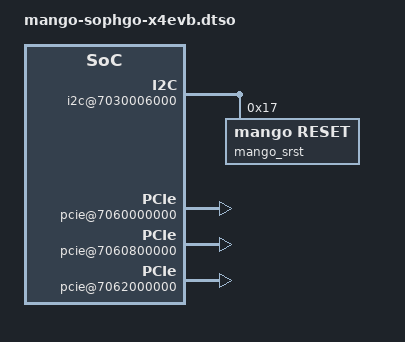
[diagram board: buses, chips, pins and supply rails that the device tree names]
/dts-v1/;
/plugin/;

/ {
	fragment@0 {
		target-path = "/cpus";
		__overlay__ {
			#address-cells = <1>;
			#size-cells = <0>;
			timebase-frequency = <50000000>;

			cpu0: cpu@0 {
				compatible = "thead,c920", "riscv";
				device_type = "cpu";
				riscv,isa = "rv64imafdc_xtheadvector";
				riscv,isa-base = "rv64i";
				riscv,isa-extensions = "i", "m", "a", "f", "d", "c",
						"zicntr", "zicsr", "zifencei",
						"zihpm", "xtheadvector";
				reg = <0>;
				i-cache-block-size = <64>;
				i-cache-size = <65536>;
				i-cache-sets = <512>;
				d-cache-block-size = <64>;
				d-cache-size = <65536>;
				d-cache-sets = <512>;
				next-level-cache = <&l2_cache0>;
				mmu-type = "riscv,sv39";
				numa-node-id = <0>;

				cpu0_intc: interrupt-controller {
					#address-cells = <1>;
					compatible = "riscv,cpu-intc";
					interrupt-controller;
					#interrupt-cells = <1>;
				};
			};

			cpu1: cpu@1 {
				compatible = "thead,c920", "riscv";
				device_type = "cpu";
				riscv,isa = "rv64imafdc_xtheadvector";
				riscv,isa-base = "rv64i";
				riscv,isa-extensions = "i", "m", "a", "f", "d", "c",
						"zicntr", "zicsr", "zifencei",
						"zihpm", "xtheadvector";
				reg = <1>;
				i-cache-block-size = <64>;
				i-cache-size = <65536>;
				i-cache-sets = <512>;
				d-cache-block-size = <64>;
				d-cache-size = <65536>;
				d-cache-sets = <512>;
				next-level-cache = <&l2_cache0>;
				mmu-type = "riscv,sv39";
				numa-node-id = <0>;

				cpu1_intc: interrupt-controller {
					#address-cells = <1>;
					compatible = "riscv,cpu-intc";
					interrupt-controller;
					#interrupt-cells = <1>;
				};
			};

			cpu2: cpu@2 {
				compatible = "thead,c920", "riscv";
				device_type = "cpu";
				riscv,isa = "rv64imafdc_xtheadvector";
				riscv,isa-base = "rv64i";
				riscv,isa-extensions = "i", "m", "a", "f", "d", "c",
						"zicntr", "zicsr", "zifencei",
						"zihpm", "xtheadvector";
				reg = <2>;
				i-cache-size = <65536>;
				i-cache-sets = <512>;
				d-cache-block-size = <64>;
				d-cache-size = <65536>;
				d-cache-sets = <512>;
				next-level-cache = <&l2_cache0>;
				mmu-type = "riscv,sv39";
				numa-node-id = <0>;

				cpu2_intc: interrupt-controller {
					#address-cells = <1>;
					compatible = "riscv,cpu-intc";
					interrupt-controller;
					#interrupt-cells = <1>;
				};
			};

			cpu3: cpu@3 {
				compatible = "thead,c920", "riscv";
				device_type = "cpu";
				riscv,isa = "rv64imafdc_xtheadvector";
				riscv,isa-base = "rv64i";
				riscv,isa-extensions = "i", "m", "a", "f", "d", "c",
						"zicntr", "zicsr", "zifencei",
						"zihpm", "xtheadvector";
				reg = <3>;
				i-cache-size = <65536>;
				i-cache-sets = <512>;
				d-cache-block-size = <64>;
				d-cache-size = <65536>;
				d-cache-sets = <512>;
				next-level-cache = <&l2_cache0>;
				mmu-type = "riscv,sv39";
				numa-node-id = <0>;

				cpu3_intc: interrupt-controller {
					#address-cells = <1>;
					compatible = "riscv,cpu-intc";
					interrupt-controller;
					#interrupt-cells = <1>;
				};
			};

			cpu4: cpu@4 {
				compatible = "thead,c920", "riscv";
				device_type = "cpu";
				riscv,isa = "rv64imafdc_xtheadvector";
				riscv,isa-base = "rv64i";
				riscv,isa-extensions = "i", "m", "a", "f", "d", "c",
						"zicntr", "zicsr", "zifencei",
						"zihpm", "xtheadvector";
				reg = <4>;
				i-cache-size = <65536>;
				i-cache-sets = <512>;
				d-cache-block-size = <64>;
				d-cache-size = <65536>;
				d-cache-sets = <512>;
				next-level-cache = <&l2_cache1>;
				mmu-type = "riscv,sv39";
				numa-node-id = <0>;

				cpu4_intc: interrupt-controller {
					#address-cells = <1>;
					compatible = "riscv,cpu-intc";
					interrupt-controller;
					#interrupt-cells = <1>;
				};
			};

			cpu5: cpu@5 {
				compatible = "thead,c920", "riscv";
				device_type = "cpu";
				riscv,isa = "rv64imafdc_xtheadvector";
				riscv,isa-base = "rv64i";
				riscv,isa-extensions = "i", "m", "a", "f", "d", "c",
						"zicntr", "zicsr", "zifencei",
						"zihpm", "xtheadvector";
				reg = <5>;
				i-cache-size = <65536>;
				i-cache-sets = <512>;
				d-cache-block-size = <64>;
				d-cache-size = <65536>;
				d-cache-sets = <512>;
				next-level-cache = <&l2_cache1>;
				mmu-type = "riscv,sv39";
				numa-node-id = <0>;

				cpu5_intc: interrupt-controller {
					#address-cells = <1>;
					compatible = "riscv,cpu-intc";
					interrupt-controller;
					#interrupt-cells = <1>;
				};
			};

			cpu6: cpu@6 {
				compatible = "thead,c920", "riscv";
				device_type = "cpu";
				riscv,isa = "rv64imafdc_xtheadvector";
				riscv,isa-base = "rv64i";
				riscv,isa-extensions = "i", "m", "a", "f", "d", "c",
						"zicntr", "zicsr", "zifencei",
						"zihpm", "xtheadvector";
				reg = <6>;
				i-cache-size = <65536>;
				i-cache-sets = <512>;
				d-cache-block-size = <64>;
				d-cache-size = <65536>;
				d-cache-sets = <512>;
				next-level-cache = <&l2_cache1>;
				mmu-type = "riscv,sv39";
				numa-node-id = <0>;

				cpu6_intc: interrupt-controller {
					#address-cells = <1>;
					compatible = "riscv,cpu-intc";
					interrupt-controller;
					#interrupt-cells = <1>;
				};
			};

			cpu7: cpu@7 {
				compatible = "thead,c920", "riscv";
				device_type = "cpu";
				riscv,isa = "rv64imafdc_xtheadvector";
				riscv,isa-base = "rv64i";
				riscv,isa-extensions = "i", "m", "a", "f", "d", "c",
						"zicntr", "zicsr", "zifencei",
						"zihpm", "xtheadvector";
				reg = <7>;
				i-cache-size = <65536>;
				i-cache-sets = <512>;
				d-cache-block-size = <64>;
				d-cache-size = <65536>;
				d-cache-sets = <512>;
				next-level-cache = <&l2_cache1>;
				mmu-type = "riscv,sv39";
				numa-node-id = <0>;

				cpu7_intc: interrupt-controller {
					#address-cells = <1>;
					compatible = "riscv,cpu-intc";
					interrupt-controller;
					#interrupt-cells = <1>;
				};
			};

			cpu8: cpu@8 {
				compatible = "thead,c920", "riscv";
				device_type = "cpu";
				riscv,isa = "rv64imafdc_xtheadvector";
				riscv,isa-base = "rv64i";
				riscv,isa-extensions = "i", "m", "a", "f", "d", "c",
						"zicntr", "zicsr", "zifencei",
						"zihpm", "xtheadvector";
				reg = <8>;
				i-cache-size = <65536>;
				i-cache-sets = <512>;
				d-cache-block-size = <64>;
				d-cache-size = <65536>;
				d-cache-sets = <512>;
				next-level-cache = <&l2_cache4>;
				mmu-type = "riscv,sv39";
				numa-node-id = <1>;

				cpu8_intc: interrupt-controller {
					#address-cells = <1>;
					compatible = "riscv,cpu-intc";
					interrupt-controller;
					#interrupt-cells = <1>;
				};
			};

			cpu9: cpu@9 {
				compatible = "thead,c920", "riscv";
				device_type = "cpu";
				riscv,isa = "rv64imafdc_xtheadvector";
				riscv,isa-base = "rv64i";
				riscv,isa-extensions = "i", "m", "a", "f", "d", "c",
						"zicntr", "zicsr", "zifencei",
						"zihpm", "xtheadvector";
				reg = <9>;
				i-cache-size = <65536>;
				i-cache-sets = <512>;
				d-cache-block-size = <64>;
				d-cache-size = <65536>;
				d-cache-sets = <512>;
				next-level-cache = <&l2_cache4>;
				mmu-type = "riscv,sv39";
				numa-node-id = <1>;

				cpu9_intc: interrupt-controller {
					#address-cells = <1>;
					compatible = "riscv,cpu-intc";
					interrupt-controller;
					#interrupt-cells = <1>;
				};
			};

			cpu10: cpu@10 {
				compatible = "thead,c920", "riscv";
				device_type = "cpu";
				riscv,isa = "rv64imafdc_xtheadvector";
				riscv,isa-base = "rv64i";
				riscv,isa-extensions = "i", "m", "a", "f", "d", "c",
						"zicntr", "zicsr", "zifencei",
						"zihpm", "xtheadvector";
				reg = <10>;
				i-cache-size = <65536>;
				i-cache-sets = <512>;
				d-cache-block-size = <64>;
				d-cache-size = <65536>;
				d-cache-sets = <512>;
				next-level-cache = <&l2_cache4>;
				mmu-type = "riscv,sv39";
				numa-node-id = <1>;

				cpu10_intc: interrupt-controller {
					#address-cells = <1>;
					compatible = "riscv,cpu-intc";
					interrupt-controller;
					#interrupt-cells = <1>;
				};
			};

			cpu11: cpu@11 {
				compatible = "thead,c920", "riscv";
				device_type = "cpu";
				riscv,isa = "rv64imafdc_xtheadvector";
				riscv,isa-base = "rv64i";
				riscv,isa-extensions = "i", "m", "a", "f", "d", "c",
						"zicntr", "zicsr", "zifencei",
						"zihpm", "xtheadvector";
				reg = <11>;
				i-cache-size = <65536>;
				i-cache-sets = <512>;
				d-cache-block-size = <64>;
				d-cache-size = <65536>;
				d-cache-sets = <512>;
				next-level-cache = <&l2_cache4>;
				mmu-type = "riscv,sv39";
				numa-node-id = <1>;

				cpu11_intc: interrupt-controller {
					#address-cells = <1>;
					compatible = "riscv,cpu-intc";
					interrupt-controller;
					#interrupt-cells = <1>;
				};
			};

			cpu12: cpu@12 {
				compatible = "thead,c920", "riscv";
				device_type = "cpu";
				riscv,isa = "rv64imafdc_xtheadvector";
				riscv,isa-base = "rv64i";
				riscv,isa-extensions = "i", "m", "a", "f", "d", "c",
						"zicntr", "zicsr", "zifencei",
						"zihpm", "xtheadvector";
				reg = <12>;
				i-cache-size = <65536>;
				i-cache-sets = <512>;
				d-cache-block-size = <64>;
				d-cache-size = <65536>;
				d-cache-sets = <512>;
				next-level-cache = <&l2_cache5>;
				mmu-type = "riscv,sv39";
				numa-node-id = <1>;

				cpu12_intc: interrupt-controller {
					#address-cells = <1>;
					compatible = "riscv,cpu-intc";
					interrupt-controller;
					#interrupt-cells = <1>;
				};
			};

			cpu13: cpu@13 {
				compatible = "thead,c920", "riscv";
				device_type = "cpu";
				riscv,isa = "rv64imafdc_xtheadvector";
				riscv,isa-base = "rv64i";
				riscv,isa-extensions = "i", "m", "a", "f", "d", "c",
						"zicntr", "zicsr", "zifencei",
						"zihpm", "xtheadvector";
				reg = <13>;
				i-cache-size = <65536>;
				i-cache-sets = <512>;
				d-cache-block-size = <64>;
				d-cache-size = <65536>;
				d-cache-sets = <512>;
				next-level-cache = <&l2_cache5>;
				mmu-type = "riscv,sv39";
				numa-node-id = <1>;

				cpu13_intc: interrupt-controller {
					#address-cells = <1>;
					compatible = "riscv,cpu-intc";
					interrupt-controller;
					#interrupt-cells = <1>;
				};
			};

			cpu14: cpu@14 {
				compatible = "thead,c920", "riscv";
				device_type = "cpu";
				riscv,isa = "rv64imafdc_xtheadvector";
				riscv,isa-base = "rv64i";
				riscv,isa-extensions = "i", "m", "a", "f", "d", "c",
						"zicntr", "zicsr", "zifencei",
						"zihpm", "xtheadvector";
				reg = <14>;
				i-cache-size = <65536>;
				i-cache-sets = <512>;
				d-cache-block-size = <64>;
				d-cache-size = <65536>;
				d-cache-sets = <512>;
				next-level-cache = <&l2_cache5>;
				mmu-type = "riscv,sv39";
				numa-node-id = <1>;

				cpu14_intc: interrupt-controller {
					#address-cells = <1>;
					compatible = "riscv,cpu-intc";
					interrupt-controller;
					#interrupt-cells = <1>;
				};
			};

			cpu15: cpu@15 {
				compatible = "thead,c920", "riscv";
				device_type = "cpu";
				riscv,isa = "rv64imafdc_xtheadvector";
				riscv,isa-base = "rv64i";
				riscv,isa-extensions = "i", "m", "a", "f", "d", "c",
						"zicntr", "zicsr", "zifencei",
						"zihpm", "xtheadvector";
				reg = <15>;
				i-cache-size = <65536>;
				i-cache-sets = <512>;
				d-cache-block-size = <64>;
				d-cache-size = <65536>;
				d-cache-sets = <512>;
				next-level-cache = <&l2_cache5>;
				mmu-type = "riscv,sv39";
				numa-node-id = <1>;

				cpu15_intc: interrupt-controller {
					#address-cells = <1>;
					compatible = "riscv,cpu-intc";
					interrupt-controller;
					#interrupt-cells = <1>;
				};
			};

			cpu16: cpu@16 {
				compatible = "thead,c920", "riscv";
				device_type = "cpu";
				riscv,isa = "rv64imafdc_xtheadvector";
				riscv,isa-base = "rv64i";
				riscv,isa-extensions = "i", "m", "a", "f", "d", "c",
						"zicntr", "zicsr", "zifencei",
						"zihpm", "xtheadvector";
				reg = <16>;
				i-cache-size = <65536>;
				i-cache-sets = <512>;
				d-cache-block-size = <64>;
				d-cache-size = <65536>;
				d-cache-sets = <512>;
				next-level-cache = <&l2_cache2>;
				mmu-type = "riscv,sv39";
				numa-node-id = <0>;

				cpu16_intc: interrupt-controller {
					#address-cells = <1>;
					compatible = "riscv,cpu-intc";
					interrupt-controller;
					#interrupt-cells = <1>;
				};
			};

			cpu17: cpu@17 {
				compatible = "thead,c920", "riscv";
				device_type = "cpu";
				riscv,isa = "rv64imafdc_xtheadvector";
				riscv,isa-base = "rv64i";
				riscv,isa-extensions = "i", "m", "a", "f", "d", "c",
						"zicntr", "zicsr", "zifencei",
						"zihpm", "xtheadvector";
				reg = <17>;
				i-cache-size = <65536>;
				i-cache-sets = <512>;
				d-cache-block-size = <64>;
				d-cache-size = <65536>;
				d-cache-sets = <512>;
				next-level-cache = <&l2_cache2>;
				mmu-type = "riscv,sv39";
				numa-node-id = <0>;

				cpu17_intc: interrupt-controller {
					#address-cells = <1>;
					compatible = "riscv,cpu-intc";
					interrupt-controller;
					#interrupt-cells = <1>;
				};
			};

			cpu18: cpu@18 {
				compatible = "thead,c920", "riscv";
				device_type = "cpu";
				riscv,isa = "rv64imafdc_xtheadvector";
				riscv,isa-base = "rv64i";
				riscv,isa-extensions = "i", "m", "a", "f", "d", "c",
						"zicntr", "zicsr", "zifencei",
						"zihpm", "xtheadvector";
				reg = <18>;
				i-cache-size = <65536>;
				i-cache-sets = <512>;
				d-cache-block-size = <64>;
				d-cache-size = <65536>;
				d-cache-sets = <512>;
				next-level-cache = <&l2_cache2>;
				mmu-type = "riscv,sv39";
				numa-node-id = <0>;

				cpu18_intc: interrupt-controller {
					#address-cells = <1>;
					compatible = "riscv,cpu-intc";
					interrupt-controller;
					#interrupt-cells = <1>;
				};
			};

			cpu19: cpu@19 {
				compatible = "thead,c920", "riscv";
				device_type = "cpu";
				riscv,isa = "rv64imafdc_xtheadvector";
				riscv,isa-base = "rv64i";
				riscv,isa-extensions = "i", "m", "a", "f", "d", "c",
						"zicntr", "zicsr", "zifencei",
						"zihpm", "xtheadvector";
				reg = <19>;
				i-cache-size = <65536>;
				i-cache-sets = <512>;
				d-cache-block-size = <64>;
				d-cache-size = <65536>;
				d-cache-sets = <512>;
				next-level-cache = <&l2_cache2>;
				mmu-type = "riscv,sv39";
				numa-node-id = <0>;

				cpu19_intc: interrupt-controller {
					#address-cells = <1>;
					compatible = "riscv,cpu-intc";
					interrupt-controller;
					#interrupt-cells = <1>;
				};
			};

			cpu20: cpu@20 {
				compatible = "thead,c920", "riscv";
				device_type = "cpu";
				riscv,isa = "rv64imafdc_xtheadvector";
				riscv,isa-base = "rv64i";
				riscv,isa-extensions = "i", "m", "a", "f", "d", "c",
						"zicntr", "zicsr", "zifencei",
						"zihpm", "xtheadvector";
				reg = <20>;
				i-cache-size = <65536>;
				i-cache-sets = <512>;
				d-cache-block-size = <64>;
				d-cache-size = <65536>;
				d-cache-sets = <512>;
				next-level-cache = <&l2_cache3>;
				mmu-type = "riscv,sv39";
				numa-node-id = <0>;

				cpu20_intc: interrupt-controller {
					#address-cells = <1>;
					compatible = "riscv,cpu-intc";
					interrupt-controller;
					#interrupt-cells = <1>;
				};
			};

			cpu21: cpu@21 {
				compatible = "thead,c920", "riscv";
				device_type = "cpu";
				riscv,isa = "rv64imafdc_xtheadvector";
				riscv,isa-base = "rv64i";
				riscv,isa-extensions = "i", "m", "a", "f", "d", "c",
						"zicntr", "zicsr", "zifencei",
						"zihpm", "xtheadvector";
				reg = <21>;
				i-cache-size = <65536>;
				i-cache-sets = <512>;
				d-cache-block-size = <64>;
				d-cache-size = <65536>;
				d-cache-sets = <512>;
				next-level-cache = <&l2_cache3>;
				mmu-type = "riscv,sv39";
				numa-node-id = <0>;

				cpu21_intc: interrupt-controller {
					#address-cells = <1>;
					compatible = "riscv,cpu-intc";
					interrupt-controller;
					#interrupt-cells = <1>;
				};
			};

			cpu22: cpu@22 {
				compatible = "thead,c920", "riscv";
				device_type = "cpu";
				riscv,isa = "rv64imafdc_xtheadvector";
				riscv,isa-base = "rv64i";
				riscv,isa-extensions = "i", "m", "a", "f", "d", "c",
						"zicntr", "zicsr", "zifencei",
						"zihpm", "xtheadvector";
				reg = <22>;
				i-cache-size = <65536>;
				i-cache-sets = <512>;
				d-cache-block-size = <64>;
				d-cache-size = <65536>;
				d-cache-sets = <512>;
				next-level-cache = <&l2_cache3>;
				mmu-type = "riscv,sv39";
				numa-node-id = <0>;

				cpu22_intc: interrupt-controller {
					#address-cells = <1>;
					compatible = "riscv,cpu-intc";
					interrupt-controller;
					#interrupt-cells = <1>;
				};
			};

			cpu23: cpu@23 {
				compatible = "thead,c920", "riscv";
				device_type = "cpu";
				riscv,isa = "rv64imafdc_xtheadvector";
				riscv,isa-base = "rv64i";
				riscv,isa-extensions = "i", "m", "a", "f", "d", "c",
						"zicntr", "zicsr", "zifencei",
						"zihpm", "xtheadvector";
				reg = <23>;
				i-cache-block-size = <64>;
				i-cache-size = <65536>;
				i-cache-sets = <512>;
				d-cache-block-size = <64>;
				d-cache-size = <65536>;
				d-cache-sets = <512>;
				next-level-cache = <&l2_cache3>;
				mmu-type = "riscv,sv39";
				numa-node-id = <0>;

				cpu23_intc: interrupt-controller {
					#address-cells = <1>;
					compatible = "riscv,cpu-intc";
					interrupt-controller;
					#interrupt-cells = <1>;
				};
			};

			cpu24: cpu@24 {
				compatible = "thead,c920", "riscv";
				device_type = "cpu";
				riscv,isa = "rv64imafdc_xtheadvector";
				riscv,isa-base = "rv64i";
				riscv,isa-extensions = "i", "m", "a", "f", "d", "c",
						"zicntr", "zicsr", "zifencei",
						"zihpm", "xtheadvector";
				reg = <24>;
				i-cache-size = <65536>;
				i-cache-sets = <512>;
				d-cache-block-size = <64>;
				d-cache-size = <65536>;
				d-cache-sets = <512>;
				next-level-cache = <&l2_cache6>;
				mmu-type = "riscv,sv39";
				numa-node-id = <1>;

				cpu24_intc: interrupt-controller {
					#address-cells = <1>;
					compatible = "riscv,cpu-intc";
					interrupt-controller;
					#interrupt-cells = <1>;
				};
			};

			cpu25: cpu@25 {
				compatible = "thead,c920", "riscv";
				device_type = "cpu";
				riscv,isa = "rv64imafdc_xtheadvector";
				riscv,isa-base = "rv64i";
				riscv,isa-extensions = "i", "m", "a", "f", "d", "c",
						"zicntr", "zicsr", "zifencei",
						"zihpm", "xtheadvector";
				reg = <25>;
				i-cache-size = <65536>;
				i-cache-sets = <512>;
				d-cache-block-size = <64>;
				d-cache-size = <65536>;
				d-cache-sets = <512>;
				next-level-cache = <&l2_cache6>;
				mmu-type = "riscv,sv39";
				numa-node-id = <1>;

				cpu25_intc: interrupt-controller {
					#address-cells = <1>;
					compatible = "riscv,cpu-intc";
					interrupt-controller;
					#interrupt-cells = <1>;
				};
			};

			cpu26: cpu@26 {
				compatible = "thead,c920", "riscv";
				device_type = "cpu";
				riscv,isa = "rv64imafdc_xtheadvector";
				riscv,isa-base = "rv64i";
				riscv,isa-extensions = "i", "m", "a", "f", "d", "c",
						"zicntr", "zicsr", "zifencei",
						"zihpm", "xtheadvector";
				reg = <26>;
				i-cache-size = <65536>;
				i-cache-sets = <512>;
				d-cache-block-size = <64>;
				d-cache-size = <65536>;
				d-cache-sets = <512>;
				next-level-cache = <&l2_cache6>;
				mmu-type = "riscv,sv39";
				numa-node-id = <1>;

				cpu26_intc: interrupt-controller {
					#address-cells = <1>;
					compatible = "riscv,cpu-intc";
					interrupt-controller;
					#interrupt-cells = <1>;
				};
			};

			cpu27: cpu@27 {
				compatible = "thead,c920", "riscv";
				device_type = "cpu";
				riscv,isa = "rv64imafdc_xtheadvector";
				riscv,isa-base = "rv64i";
				riscv,isa-extensions = "i", "m", "a", "f", "d", "c",
						"zicntr", "zicsr", "zifencei",
						"zihpm", "xtheadvector";
				reg = <27>;
				i-cache-size = <65536>;
				i-cache-sets = <512>;
				d-cache-block-size = <64>;
				d-cache-size = <65536>;
				d-cache-sets = <512>;
				next-level-cache = <&l2_cache6>;
				mmu-type = "riscv,sv39";
				numa-node-id = <1>;

				cpu27_intc: interrupt-controller {
					#address-cells = <1>;
					compatible = "riscv,cpu-intc";
					interrupt-controller;
					#interrupt-cells = <1>;
				};
			};

			cpu28: cpu@28 {
				compatible = "thead,c920", "riscv";
				device_type = "cpu";
				riscv,isa = "rv64imafdc_xtheadvector";
				riscv,isa-base = "rv64i";
				riscv,isa-extensions = "i", "m", "a", "f", "d", "c",
						"zicntr", "zicsr", "zifencei",
						"zihpm", "xtheadvector";
				reg = <28>;
				i-cache-size = <65536>;
				i-cache-sets = <512>;
				d-cache-block-size = <64>;
				d-cache-size = <65536>;
				d-cache-sets = <512>;
				next-level-cache = <&l2_cache7>;
				mmu-type = "riscv,sv39";
				numa-node-id = <1>;

				cpu28_intc: interrupt-controller {
					#address-cells = <1>;
					compatible = "riscv,cpu-intc";
					interrupt-controller;
					#interrupt-cells = <1>;
				};
			};

			cpu29: cpu@29 {
				compatible = "thead,c920", "riscv";
				device_type = "cpu";
				riscv,isa = "rv64imafdc_xtheadvector";
				riscv,isa-base = "rv64i";
				riscv,isa-extensions = "i", "m", "a", "f", "d", "c",
						"zicntr", "zicsr", "zifencei",
						"zihpm", "xtheadvector";
				reg = <29>;
				i-cache-size = <65536>;
				i-cache-sets = <512>;
				d-cache-block-size = <64>;
				d-cache-size = <65536>;
				d-cache-sets = <512>;
				next-level-cache = <&l2_cache7>;
				mmu-type = "riscv,sv39";
				numa-node-id = <1>;

				cpu29_intc: interrupt-controller {
					#address-cells = <1>;
					compatible = "riscv,cpu-intc";
					interrupt-controller;
					#interrupt-cells = <1>;
				};
			};

			cpu30: cpu@30 {
				compatible = "thead,c920", "riscv";
				device_type = "cpu";
				riscv,isa = "rv64imafdc_xtheadvector";
				riscv,isa-base = "rv64i";
				riscv,isa-extensions = "i", "m", "a", "f", "d", "c",
						"zicntr", "zicsr", "zifencei",
						"zihpm", "xtheadvector";
				reg = <30>;
				i-cache-size = <65536>;
				i-cache-sets = <512>;
				d-cache-block-size = <64>;
				d-cache-size = <65536>;
				d-cache-sets = <512>;
				next-level-cache = <&l2_cache7>;
				mmu-type = "riscv,sv39";
				numa-node-id = <1>;

				cpu30_intc: interrupt-controller {
					#address-cells = <1>;
					compatible = "riscv,cpu-intc";
					interrupt-controller;
					#interrupt-cells = <1>;
				};
			};

			cpu31: cpu@31 {
				compatible = "thead,c920", "riscv";
				device_type = "cpu";
				riscv,isa = "rv64imafdc_xtheadvector";
				riscv,isa-base = "rv64i";
				riscv,isa-extensions = "i", "m", "a", "f", "d", "c",
						"zicntr", "zicsr", "zifencei",
						"zihpm", "xtheadvector";
				reg = <31>;
				i-cache-block-size = <64>;
				i-cache-size = <65536>;
				i-cache-sets = <512>;
				d-cache-block-size = <64>;
				d-cache-size = <65536>;
				d-cache-sets = <512>;
				next-level-cache = <&l2_cache7>;
				mmu-type = "riscv,sv39";
				numa-node-id = <1>;

				cpu31_intc: interrupt-controller {
					#address-cells = <1>;
					compatible = "riscv,cpu-intc";
					interrupt-controller;
					#interrupt-cells = <1>;
				};
			};

			cpu32: cpu@32 {
				compatible = "thead,c920", "riscv";
				device_type = "cpu";
				riscv,isa = "rv64imafdc_xtheadvector";
				riscv,isa-base = "rv64i";
				riscv,isa-extensions = "i", "m", "a", "f", "d", "c",
						"zicntr", "zicsr", "zifencei",
						"zihpm", "xtheadvector";
				reg = <32>;
				i-cache-size = <65536>;
				i-cache-sets = <512>;
				d-cache-block-size = <64>;
				d-cache-size = <65536>;
				d-cache-sets = <512>;
				next-level-cache = <&l2_cache8>;
				mmu-type = "riscv,sv39";
				numa-node-id = <2>;

				cpu32_intc: interrupt-controller {
					#address-cells = <1>;
					compatible = "riscv,cpu-intc";
					interrupt-controller;
					#interrupt-cells = <1>;
				};
			};

			cpu33: cpu@33 {
				compatible = "thead,c920", "riscv";
				device_type = "cpu";
				riscv,isa = "rv64imafdc_xtheadvector";
				riscv,isa-base = "rv64i";
				riscv,isa-extensions = "i", "m", "a", "f", "d", "c",
						"zicntr", "zicsr", "zifencei",
						"zihpm", "xtheadvector";
				reg = <33>;
				i-cache-size = <65536>;
				i-cache-sets = <512>;
				d-cache-block-size = <64>;
				d-cache-size = <65536>;
				d-cache-sets = <512>;
				next-level-cache = <&l2_cache8>;
				mmu-type = "riscv,sv39";
				numa-node-id = <2>;

				cpu33_intc: interrupt-controller {
					#address-cells = <1>;
					compatible = "riscv,cpu-intc";
					interrupt-controller;
					#interrupt-cells = <1>;
				};
			};

			cpu34: cpu@34 {
				compatible = "thead,c920", "riscv";
				device_type = "cpu";
				riscv,isa = "rv64imafdc_xtheadvector";
				riscv,isa-base = "rv64i";
				riscv,isa-extensions = "i", "m", "a", "f", "d", "c",
						"zicntr", "zicsr", "zifencei",
						"zihpm", "xtheadvector";
				reg = <34>;
				i-cache-size = <65536>;
				i-cache-sets = <512>;
				d-cache-block-size = <64>;
				d-cache-size = <65536>;
				d-cache-sets = <512>;
				next-level-cache = <&l2_cache8>;
				mmu-type = "riscv,sv39";
				numa-node-id = <2>;

				cpu34_intc: interrupt-controller {
					#address-cells = <1>;
					compatible = "riscv,cpu-intc";
					interrupt-controller;
					#interrupt-cells = <1>;
				};
			};

			cpu35: cpu@35 {
				compatible = "thead,c920", "riscv";
				device_type = "cpu";
				riscv,isa = "rv64imafdc_xtheadvector";
				riscv,isa-base = "rv64i";
				riscv,isa-extensions = "i", "m", "a", "f", "d", "c",
						"zicntr", "zicsr", "zifencei",
						"zihpm", "xtheadvector";
				reg = <35>;
				i-cache-size = <65536>;
				i-cache-sets = <512>;
				d-cache-block-size = <64>;
				d-cache-size = <65536>;
				d-cache-sets = <512>;
				next-level-cache = <&l2_cache8>;
				mmu-type = "riscv,sv39";
				numa-node-id = <2>;

				cpu35_intc: interrupt-controller {
					#address-cells = <1>;
					compatible = "riscv,cpu-intc";
					interrupt-controller;
					#interrupt-cells = <1>;
				};
			};

			cpu36: cpu@36 {
				compatible = "thead,c920", "riscv";
				device_type = "cpu";
				riscv,isa = "rv64imafdc_xtheadvector";
				riscv,isa-base = "rv64i";
				riscv,isa-extensions = "i", "m", "a", "f", "d", "c",
						"zicntr", "zicsr", "zifencei",
						"zihpm", "xtheadvector";
				reg = <36>;
				i-cache-size = <65536>;
				i-cache-sets = <512>;
				d-cache-block-size = <64>;
				d-cache-size = <65536>;
				d-cache-sets = <512>;
				next-level-cache = <&l2_cache9>;
				mmu-type = "riscv,sv39";
				numa-node-id = <2>;

				cpu36_intc: interrupt-controller {
					#address-cells = <1>;
					compatible = "riscv,cpu-intc";
					interrupt-controller;
					#interrupt-cells = <1>;
				};
			};

			cpu37: cpu@37 {
				compatible = "thead,c920", "riscv";
				device_type = "cpu";
				riscv,isa = "rv64imafdc_xtheadvector";
				riscv,isa-base = "rv64i";
				riscv,isa-extensions = "i", "m", "a", "f", "d", "c",
						"zicntr", "zicsr", "zifencei",
						"zihpm", "xtheadvector";
				reg = <37>;
				i-cache-size = <65536>;
				i-cache-sets = <512>;
				d-cache-block-size = <64>;
				d-cache-size = <65536>;
				d-cache-sets = <512>;
				next-level-cache = <&l2_cache9>;
				mmu-type = "riscv,sv39";
				numa-node-id = <2>;

				cpu37_intc: interrupt-controller {
					#address-cells = <1>;
					compatible = "riscv,cpu-intc";
					interrupt-controller;
					#interrupt-cells = <1>;
				};
			};

			cpu38: cpu@38 {
				compatible = "thead,c920", "riscv";
				device_type = "cpu";
				riscv,isa = "rv64imafdc_xtheadvector";
				riscv,isa-base = "rv64i";
				riscv,isa-extensions = "i", "m", "a", "f", "d", "c",
						"zicntr", "zicsr", "zifencei",
						"zihpm", "xtheadvector";
				reg = <38>;
				i-cache-size = <65536>;
				i-cache-sets = <512>;
				d-cache-block-size = <64>;
				d-cache-size = <65536>;
				d-cache-sets = <512>;
				next-level-cache = <&l2_cache9>;
				mmu-type = "riscv,sv39";
				numa-node-id = <2>;

				cpu38_intc: interrupt-controller {
					#address-cells = <1>;
					compatible = "riscv,cpu-intc";
					interrupt-controller;
					#interrupt-cells = <1>;
				};
			};

			cpu39: cpu@39 {
				compatible = "thead,c920", "riscv";
				device_type = "cpu";
				riscv,isa = "rv64imafdc_xtheadvector";
				riscv,isa-base = "rv64i";
				riscv,isa-extensions = "i", "m", "a", "f", "d", "c",
						"zicntr", "zicsr", "zifencei",
						"zihpm", "xtheadvector";
				reg = <39>;
				i-cache-size = <65536>;
				i-cache-sets = <512>;
				d-cache-block-size = <64>;
				d-cache-size = <65536>;
				d-cache-sets = <512>;
				next-level-cache = <&l2_cache9>;
				mmu-type = "riscv,sv39";
				numa-node-id = <2>;

				cpu39_intc: interrupt-controller {
					#address-cells = <1>;
					compatible = "riscv,cpu-intc";
					interrupt-controller;
					#interrupt-cells = <1>;
				};
			};

			cpu40: cpu@40 {
				compatible = "thead,c920", "riscv";
				device_type = "cpu";
				riscv,isa = "rv64imafdc_xtheadvector";
				riscv,isa-base = "rv64i";
				riscv,isa-extensions = "i", "m", "a", "f", "d", "c",
						"zicntr", "zicsr", "zifencei",
						"zihpm", "xtheadvector";
				reg = <40>;
				i-cache-size = <65536>;
				i-cache-sets = <512>;
				d-cache-block-size = <64>;
				d-cache-size = <65536>;
				d-cache-sets = <512>;
				next-level-cache = <&l2_cache12>;
				mmu-type = "riscv,sv39";
				numa-node-id = <3>;

				cpu40_intc: interrupt-controller {
					#address-cells = <1>;
					compatible = "riscv,cpu-intc";
					interrupt-controller;
					#interrupt-cells = <1>;
				};
			};

			cpu41: cpu@41 {
				compatible = "thead,c920", "riscv";
				device_type = "cpu";
				riscv,isa = "rv64imafdc_xtheadvector";
				riscv,isa-base = "rv64i";
				riscv,isa-extensions = "i", "m", "a", "f", "d", "c",
						"zicntr", "zicsr", "zifencei",
						"zihpm", "xtheadvector";
				reg = <41>;
				i-cache-size = <65536>;
				i-cache-sets = <512>;
				d-cache-block-size = <64>;
				d-cache-size = <65536>;
				d-cache-sets = <512>;
				next-level-cache = <&l2_cache12>;
				mmu-type = "riscv,sv39";
				numa-node-id = <3>;

				cpu41_intc: interrupt-controller {
					#address-cells = <1>;
					compatible = "riscv,cpu-intc";
					interrupt-controller;
					#interrupt-cells = <1>;
				};
			};

			cpu42: cpu@42 {
				compatible = "thead,c920", "riscv";
				device_type = "cpu";
				riscv,isa = "rv64imafdc_xtheadvector";
				riscv,isa-base = "rv64i";
				riscv,isa-extensions = "i", "m", "a", "f", "d", "c",
						"zicntr", "zicsr", "zifencei",
						"zihpm", "xtheadvector";
				reg = <42>;
				i-cache-size = <65536>;
				i-cache-sets = <512>;
				d-cache-block-size = <64>;
				d-cache-size = <65536>;
				d-cache-sets = <512>;
				next-level-cache = <&l2_cache12>;
				mmu-type = "riscv,sv39";
				numa-node-id = <3>;

				cpu42_intc: interrupt-controller {
					#address-cells = <1>;
					compatible = "riscv,cpu-intc";
					interrupt-controller;
					#interrupt-cells = <1>;
				};
			};

			cpu43: cpu@43 {
				compatible = "thead,c920", "riscv";
				device_type = "cpu";
				riscv,isa = "rv64imafdc_xtheadvector";
				riscv,isa-base = "rv64i";
				riscv,isa-extensions = "i", "m", "a", "f", "d", "c",
						"zicntr", "zicsr", "zifencei",
						"zihpm", "xtheadvector";
				reg = <43>;
				i-cache-size = <65536>;
				i-cache-sets = <512>;
				d-cache-block-size = <64>;
				d-cache-size = <65536>;
				d-cache-sets = <512>;
				next-level-cache = <&l2_cache12>;
				mmu-type = "riscv,sv39";
				numa-node-id = <3>;

				cpu43_intc: interrupt-controller {
					#address-cells = <1>;
					compatible = "riscv,cpu-intc";
					interrupt-controller;
					#interrupt-cells = <1>;
				};
			};

			cpu44: cpu@44 {
				compatible = "thead,c920", "riscv";
				device_type = "cpu";
				riscv,isa = "rv64imafdc_xtheadvector";
				riscv,isa-base = "rv64i";
				riscv,isa-extensions = "i", "m", "a", "f", "d", "c",
						"zicntr", "zicsr", "zifencei",
						"zihpm", "xtheadvector";
				reg = <44>;
				i-cache-size = <65536>;
				i-cache-sets = <512>;
				d-cache-block-size = <64>;
				d-cache-size = <65536>;
				d-cache-sets = <512>;
				next-level-cache = <&l2_cache13>;
				mmu-type = "riscv,sv39";
				numa-node-id = <3>;

				cpu44_intc: interrupt-controller {
					#address-cells = <1>;
					compatible = "riscv,cpu-intc";
					interrupt-controller;
					#interrupt-cells = <1>;
				};
			};

			cpu45: cpu@45 {
				compatible = "thead,c920", "riscv";
				device_type = "cpu";
				riscv,isa = "rv64imafdc_xtheadvector";
				riscv,isa-base = "rv64i";
				riscv,isa-extensions = "i", "m", "a", "f", "d", "c",
						"zicntr", "zicsr", "zifencei",
						"zihpm", "xtheadvector";
				reg = <45>;
				i-cache-size = <65536>;
				i-cache-sets = <512>;
				d-cache-block-size = <64>;
				d-cache-size = <65536>;
				d-cache-sets = <512>;
				next-level-cache = <&l2_cache13>;
				mmu-type = "riscv,sv39";
				numa-node-id = <3>;

				cpu45_intc: interrupt-controller {
					#address-cells = <1>;
					compatible = "riscv,cpu-intc";
					interrupt-controller;
					#interrupt-cells = <1>;
				};
			};

			cpu46: cpu@46 {
				compatible = "thead,c920", "riscv";
				device_type = "cpu";
				riscv,isa = "rv64imafdc_xtheadvector";
				riscv,isa-base = "rv64i";
				riscv,isa-extensions = "i", "m", "a", "f", "d", "c",
						"zicntr", "zicsr", "zifencei",
						"zihpm", "xtheadvector";
				reg = <46>;
				i-cache-size = <65536>;
				i-cache-sets = <512>;
				d-cache-block-size = <64>;
				d-cache-size = <65536>;
				d-cache-sets = <512>;
				next-level-cache = <&l2_cache13>;
				mmu-type = "riscv,sv39";
				numa-node-id = <3>;

				cpu46_intc: interrupt-controller {
					#address-cells = <1>;
					compatible = "riscv,cpu-intc";
					interrupt-controller;
					#interrupt-cells = <1>;
				};
			};

			cpu47: cpu@47 {
				compatible = "thead,c920", "riscv";
				device_type = "cpu";
				riscv,isa = "rv64imafdc_xtheadvector";
				riscv,isa-base = "rv64i";
				riscv,isa-extensions = "i", "m", "a", "f", "d", "c",
						"zicntr", "zicsr", "zifencei",
						"zihpm", "xtheadvector";
				reg = <47>;
				i-cache-size = <65536>;
				i-cache-sets = <512>;
				d-cache-block-size = <64>;
				d-cache-size = <65536>;
				d-cache-sets = <512>;
				next-level-cache = <&l2_cache13>;
				mmu-type = "riscv,sv39";
				numa-node-id = <3>;

				cpu47_intc: interrupt-controller {
					#address-cells = <1>;
					compatible = "riscv,cpu-intc";
					interrupt-controller;
					#interrupt-cells = <1>;
				};
			};

			cpu48: cpu@48 {
				compatible = "thead,c920", "riscv";
				device_type = "cpu";
				riscv,isa = "rv64imafdc_xtheadvector";
				riscv,isa-base = "rv64i";
				riscv,isa-extensions = "i", "m", "a", "f", "d", "c",
						"zicntr", "zicsr", "zifencei",
						"zihpm", "xtheadvector";
				reg = <48>;
				i-cache-size = <65536>;
				i-cache-sets = <512>;
				d-cache-block-size = <64>;
				d-cache-size = <65536>;
				d-cache-sets = <512>;
				next-level-cache = <&l2_cache10>;
				mmu-type = "riscv,sv39";
				numa-node-id = <2>;

				cpu48_intc: interrupt-controller {
					#address-cells = <1>;
					compatible = "riscv,cpu-intc";
					interrupt-controller;
					#interrupt-cells = <1>;
				};
			};

			cpu49: cpu@49 {
				compatible = "thead,c920", "riscv";
				device_type = "cpu";
				riscv,isa = "rv64imafdc_xtheadvector";
				riscv,isa-base = "rv64i";
				riscv,isa-extensions = "i", "m", "a", "f", "d", "c",
						"zicntr", "zicsr", "zifencei",
						"zihpm", "xtheadvector";
				reg = <49>;
				i-cache-size = <65536>;
				i-cache-sets = <512>;
				d-cache-block-size = <64>;
				d-cache-size = <65536>;
				d-cache-sets = <512>;
				next-level-cache = <&l2_cache10>;
				mmu-type = "riscv,sv39";
				numa-node-id = <2>;

				cpu49_intc: interrupt-controller {
					#address-cells = <1>;
					compatible = "riscv,cpu-intc";
					interrupt-controller;
					#interrupt-cells = <1>;
				};
			};

			cpu50: cpu@50 {
				compatible = "thead,c920", "riscv";
				device_type = "cpu";
				riscv,isa = "rv64imafdc_xtheadvector";
				riscv,isa-base = "rv64i";
				riscv,isa-extensions = "i", "m", "a", "f", "d", "c",
						"zicntr", "zicsr", "zifencei",
						"zihpm", "xtheadvector";
				reg = <50>;
				i-cache-size = <65536>;
				i-cache-sets = <512>;
				d-cache-block-size = <64>;
				d-cache-size = <65536>;
				d-cache-sets = <512>;
				next-level-cache = <&l2_cache10>;
				mmu-type = "riscv,sv39";
				numa-node-id = <2>;

				cpu50_intc: interrupt-controller {
					#address-cells = <1>;
					compatible = "riscv,cpu-intc";
					interrupt-controller;
					#interrupt-cells = <1>;
				};
			};

			cpu51: cpu@51 {
				compatible = "thead,c920", "riscv";
				device_type = "cpu";
				riscv,isa = "rv64imafdc_xtheadvector";
				riscv,isa-base = "rv64i";
				riscv,isa-extensions = "i", "m", "a", "f", "d", "c",
						"zicntr", "zicsr", "zifencei",
						"zihpm", "xtheadvector";
				reg = <51>;
				i-cache-size = <65536>;
				i-cache-sets = <512>;
				d-cache-block-size = <64>;
				d-cache-size = <65536>;
				d-cache-sets = <512>;
				next-level-cache = <&l2_cache10>;
				mmu-type = "riscv,sv39";
				numa-node-id = <2>;

				cpu51_intc: interrupt-controller {
					#address-cells = <1>;
					compatible = "riscv,cpu-intc";
					interrupt-controller;
					#interrupt-cells = <1>;
				};
			};

			cpu52: cpu@52 {
				compatible = "thead,c920", "riscv";
				device_type = "cpu";
				riscv,isa = "rv64imafdc_xtheadvector";
				riscv,isa-base = "rv64i";
				riscv,isa-extensions = "i", "m", "a", "f", "d", "c",
						"zicntr", "zicsr", "zifencei",
						"zihpm", "xtheadvector";
				reg = <52>;
				i-cache-size = <65536>;
				i-cache-sets = <512>;
				d-cache-block-size = <64>;
				d-cache-size = <65536>;
				d-cache-sets = <512>;
				next-level-cache = <&l2_cache11>;
				mmu-type = "riscv,sv39";
				numa-node-id = <2>;

				cpu52_intc: interrupt-controller {
					#address-cells = <1>;
					compatible = "riscv,cpu-intc";
					interrupt-controller;
					#interrupt-cells = <1>;
				};
			};

			cpu53: cpu@53 {
				compatible = "thead,c920", "riscv";
				device_type = "cpu";
				riscv,isa = "rv64imafdc_xtheadvector";
				riscv,isa-base = "rv64i";
				riscv,isa-extensions = "i", "m", "a", "f", "d", "c",
						"zicntr", "zicsr", "zifencei",
						"zihpm", "xtheadvector";
				reg = <53>;
				i-cache-size = <65536>;
				i-cache-sets = <512>;
				d-cache-block-size = <64>;
				d-cache-size = <65536>;
				d-cache-sets = <512>;
				next-level-cache = <&l2_cache11>;
				mmu-type = "riscv,sv39";
				numa-node-id = <2>;

				cpu53_intc: interrupt-controller {
					#address-cells = <1>;
					compatible = "riscv,cpu-intc";
					interrupt-controller;
					#interrupt-cells = <1>;
				};
			};

			cpu54: cpu@54 {
				compatible = "thead,c920", "riscv";
				device_type = "cpu";
				riscv,isa = "rv64imafdc_xtheadvector";
				riscv,isa-base = "rv64i";
				riscv,isa-extensions = "i", "m", "a", "f", "d", "c",
						"zicntr", "zicsr", "zifencei",
						"zihpm", "xtheadvector";
				reg = <54>;
				i-cache-size = <65536>;
				i-cache-sets = <512>;
				d-cache-block-size = <64>;
				d-cache-size = <65536>;
				d-cache-sets = <512>;
				next-level-cache = <&l2_cache11>;
				mmu-type = "riscv,sv39";
				numa-node-id = <2>;

				cpu54_intc: interrupt-controller {
					#address-cells = <1>;
					compatible = "riscv,cpu-intc";
					interrupt-controller;
					#interrupt-cells = <1>;
				};
			};

			cpu55: cpu@55 {
				compatible = "thead,c920", "riscv";
				device_type = "cpu";
				riscv,isa = "rv64imafdc_xtheadvector";
				riscv,isa-base = "rv64i";
				riscv,isa-extensions = "i", "m", "a", "f", "d", "c",
						"zicntr", "zicsr", "zifencei",
						"zihpm", "xtheadvector";
				reg = <55>;
				i-cache-block-size = <64>;
				i-cache-size = <65536>;
				i-cache-sets = <512>;
				d-cache-block-size = <64>;
				d-cache-size = <65536>;
				d-cache-sets = <512>;
				next-level-cache = <&l2_cache11>;
				mmu-type = "riscv,sv39";
				numa-node-id = <2>;

				cpu55_intc: interrupt-controller {
					#address-cells = <1>;
					compatible = "riscv,cpu-intc";
					interrupt-controller;
					#interrupt-cells = <1>;
				};
			};

			cpu56: cpu@56 {
				compatible = "thead,c920", "riscv";
				device_type = "cpu";
				riscv,isa = "rv64imafdc_xtheadvector";
				riscv,isa-base = "rv64i";
				riscv,isa-extensions = "i", "m", "a", "f", "d", "c",
						"zicntr", "zicsr", "zifencei",
						"zihpm", "xtheadvector";
				reg = <56>;
				i-cache-size = <65536>;
				i-cache-sets = <512>;
				d-cache-block-size = <64>;
				d-cache-size = <65536>;
				d-cache-sets = <512>;
				next-level-cache = <&l2_cache14>;
				mmu-type = "riscv,sv39";
				numa-node-id = <3>;

				cpu56_intc: interrupt-controller {
					#address-cells = <1>;
					compatible = "riscv,cpu-intc";
					interrupt-controller;
					#interrupt-cells = <1>;
				};
			};

			cpu57: cpu@57 {
				compatible = "thead,c920", "riscv";
				device_type = "cpu";
				riscv,isa = "rv64imafdc_xtheadvector";
				riscv,isa-base = "rv64i";
				riscv,isa-extensions = "i", "m", "a", "f", "d", "c",
						"zicntr", "zicsr", "zifencei",
						"zihpm", "xtheadvector";
				reg = <57>;
				i-cache-size = <65536>;
				i-cache-sets = <512>;
				d-cache-block-size = <64>;
				d-cache-size = <65536>;
				d-cache-sets = <512>;
				next-level-cache = <&l2_cache14>;
				mmu-type = "riscv,sv39";
				numa-node-id = <3>;

				cpu57_intc: interrupt-controller {
					#address-cells = <1>;
					compatible = "riscv,cpu-intc";
					interrupt-controller;
					#interrupt-cells = <1>;
				};
			};

			cpu58: cpu@58 {
				compatible = "thead,c920", "riscv";
				device_type = "cpu";
				riscv,isa = "rv64imafdc_xtheadvector";
				riscv,isa-base = "rv64i";
				riscv,isa-extensions = "i", "m", "a", "f", "d", "c",
						"zicntr", "zicsr", "zifencei",
						"zihpm", "xtheadvector";
				reg = <58>;
				i-cache-size = <65536>;
				i-cache-sets = <512>;
				d-cache-block-size = <64>;
				d-cache-size = <65536>;
				d-cache-sets = <512>;
				next-level-cache = <&l2_cache14>;
				mmu-type = "riscv,sv39";
				numa-node-id = <3>;

				cpu58_intc: interrupt-controller {
					#address-cells = <1>;
					compatible = "riscv,cpu-intc";
					interrupt-controller;
					#interrupt-cells = <1>;
				};
			};

			cpu59: cpu@59 {
				compatible = "thead,c920", "riscv";
				device_type = "cpu";
				riscv,isa = "rv64imafdc_xtheadvector";
				riscv,isa-base = "rv64i";
				riscv,isa-extensions = "i", "m", "a", "f", "d", "c",
						"zicntr", "zicsr", "zifencei",
						"zihpm", "xtheadvector";
				reg = <59>;
				i-cache-size = <65536>;
				i-cache-sets = <512>;
				d-cache-block-size = <64>;
				d-cache-size = <65536>;
				d-cache-sets = <512>;
				next-level-cache = <&l2_cache14>;
				mmu-type = "riscv,sv39";
				numa-node-id = <3>;

				cpu59_intc: interrupt-controller {
					#address-cells = <1>;
					compatible = "riscv,cpu-intc";
					interrupt-controller;
					#interrupt-cells = <1>;
				};
			};

			cpu60: cpu@60 {
				compatible = "thead,c920", "riscv";
				device_type = "cpu";
				riscv,isa = "rv64imafdc_xtheadvector";
				riscv,isa-base = "rv64i";
				riscv,isa-extensions = "i", "m", "a", "f", "d", "c",
						"zicntr", "zicsr", "zifencei",
						"zihpm", "xtheadvector";
				reg = <60>;
				i-cache-size = <65536>;
				i-cache-sets = <512>;
				d-cache-block-size = <64>;
				d-cache-size = <65536>;
				d-cache-sets = <512>;
				next-level-cache = <&l2_cache15>;
				mmu-type = "riscv,sv39";
				numa-node-id = <3>;

				cpu60_intc: interrupt-controller {
					#address-cells = <1>;
					compatible = "riscv,cpu-intc";
					interrupt-controller;
					#interrupt-cells = <1>;
				};
			};

			cpu61: cpu@61 {
				compatible = "thead,c920", "riscv";
				device_type = "cpu";
				riscv,isa = "rv64imafdc_xtheadvector";
				riscv,isa-base = "rv64i";
				riscv,isa-extensions = "i", "m", "a", "f", "d", "c",
						"zicntr", "zicsr", "zifencei",
						"zihpm", "xtheadvector";
				reg = <61>;
				i-cache-size = <65536>;
				i-cache-sets = <512>;
				d-cache-block-size = <64>;
				d-cache-size = <65536>;
				d-cache-sets = <512>;
				next-level-cache = <&l2_cache15>;
				mmu-type = "riscv,sv39";
				numa-node-id = <3>;

				cpu61_intc: interrupt-controller {
					#address-cells = <1>;
					compatible = "riscv,cpu-intc";
					interrupt-controller;
					#interrupt-cells = <1>;
				};
			};

			cpu62: cpu@62 {
				compatible = "thead,c920", "riscv";
				device_type = "cpu";
				riscv,isa = "rv64imafdc_xtheadvector";
				riscv,isa-base = "rv64i";
				riscv,isa-extensions = "i", "m", "a", "f", "d", "c",
						"zicntr", "zicsr", "zifencei",
						"zihpm", "xtheadvector";
				reg = <62>;
				i-cache-block-size = <64>;
				i-cache-size = <65536>;
				i-cache-sets = <512>;
				d-cache-block-size = <64>;
				d-cache-size = <65536>;
				d-cache-sets = <512>;
				next-level-cache = <&l2_cache15>;
				mmu-type = "riscv,sv39";
				numa-node-id = <3>;

				cpu62_intc: interrupt-controller {
					#address-cells = <1>;
					compatible = "riscv,cpu-intc";
					interrupt-controller;
					#interrupt-cells = <1>;
				};
			};

			cpu63: cpu@63 {
				compatible = "thead,c920", "riscv";
				device_type = "cpu";
				riscv,isa = "rv64imafdc_xtheadvector";
				riscv,isa-base = "rv64i";
				riscv,isa-extensions = "i", "m", "a", "f", "d", "c",
						"zicntr", "zicsr", "zifencei",
						"zihpm", "xtheadvector";
				reg = <63>;
				i-cache-block-size = <64>;
				i-cache-size = <65536>;
				i-cache-sets = <512>;
				d-cache-block-size = <64>;
				d-cache-size = <65536>;
				d-cache-sets = <512>;
				next-level-cache = <&l2_cache15>;
				mmu-type = "riscv,sv39";
				numa-node-id = <3>;

				cpu63_intc: interrupt-controller {
					#address-cells = <1>;
					compatible = "riscv,cpu-intc";
					interrupt-controller;
					#interrupt-cells = <1>;
				};
			};

			l2_cache0: cache-controller-0 {
				compatible = "cache";
				cache-block-size = <64>;
				cache-level = <2>;
				cache-size = <1048576>;
				cache-sets = <1024>;
				cache-unified;
				next-level-cache = <&l3_cache0>;
			};

			l2_cache1: cache-controller-1 {
				compatible = "cache";
				cache-block-size = <64>;
				cache-level = <2>;
				cache-size = <1048576>;
				cache-sets = <1024>;
				cache-unified;
				next-level-cache = <&l3_cache0>;
			};

			l2_cache2: cache-controller-2 {
				compatible = "cache";
				cache-block-size = <64>;
				cache-level = <2>;
				cache-size = <1048576>;
				cache-sets = <1024>;
				cache-unified;
				next-level-cache = <&l3_cache0>;
			};

			l2_cache3: cache-controller-3 {
				compatible = "cache";
				cache-block-size = <64>;
				cache-level = <2>;
				cache-size = <1048576>;
				cache-sets = <1024>;
				cache-unified;
				next-level-cache = <&l3_cache0>;
			};

			l2_cache4: cache-controller-4 {
				compatible = "cache";
				cache-block-size = <64>;
				cache-level = <2>;
				cache-size = <1048576>;
				cache-sets = <1024>;
				cache-unified;
				next-level-cache = <&l3_cache0>;
			};

			l2_cache5: cache-controller-5 {
				compatible = "cache";
				cache-block-size = <64>;
				cache-level = <2>;
				cache-size = <1048576>;
				cache-sets = <1024>;
				cache-unified;
				next-level-cache = <&l3_cache0>;
			};

			l2_cache6: cache-controller-6 {
				compatible = "cache";
				cache-block-size = <64>;
				cache-level = <2>;
				cache-size = <1048576>;
				cache-sets = <1024>;
				cache-unified;
				next-level-cache = <&l3_cache0>;
			};

			l2_cache7: cache-controller-7 {
				compatible = "cache";
				cache-block-size = <64>;
				cache-level = <2>;
				cache-size = <1048576>;
				cache-sets = <1024>;
				cache-unified;
				next-level-cache = <&l3_cache0>;
			};

			l2_cache8: cache-controller-8 {
				compatible = "cache";
				cache-block-size = <64>;
				cache-level = <2>;
				cache-size = <1048576>;
				cache-sets = <1024>;
				cache-unified;
				next-level-cache = <&l3_cache0>;
			};

			l2_cache9: cache-controller-9 {
				compatible = "cache";
				cache-block-size = <64>;
				cache-level = <2>;
				cache-size = <1048576>;
				cache-sets = <1024>;
				cache-unified;
				next-level-cache = <&l3_cache0>;
			};

			l2_cache10: cache-controller-10 {
				compatible = "cache";
				cache-block-size = <64>;
				cache-level = <2>;
				cache-size = <1048576>;
				cache-sets = <1024>;
				cache-unified;
				next-level-cache = <&l3_cache0>;
			};

			l2_cache11: cache-controller-11 {
				compatible = "cache";
				cache-block-size = <64>;
				cache-level = <2>;
				cache-size = <1048576>;
				cache-sets = <1024>;
				cache-unified;
				next-level-cache = <&l3_cache0>;
			};

			l2_cache12: cache-controller-12 {
				compatible = "cache";
				cache-block-size = <64>;
				cache-level = <2>;
				cache-size = <1048576>;
				cache-sets = <1024>;
				cache-unified;
				next-level-cache = <&l3_cache0>;
			};

			l2_cache13: cache-controller-13 {
				compatible = "cache";
				cache-block-size = <64>;
				cache-level = <2>;
				cache-size = <1048576>;
				cache-sets = <1024>;
				cache-unified;
				next-level-cache = <&l3_cache0>;
			};

			l2_cache14: cache-controller-14 {
				compatible = "cache";
				cache-block-size = <64>;
				cache-level = <2>;
				cache-size = <1048576>;
				cache-sets = <1024>;
				cache-unified;
				next-level-cache = <&l3_cache0>;
			};

			l2_cache15: cache-controller-15 {
				compatible = "cache";
				cache-block-size = <64>;
				cache-level = <2>;
				cache-size = <1048576>;
				cache-sets = <1024>;
				cache-unified;
				next-level-cache = <&l3_cache0>;
			};

			l3_cache0: cache-controller-130 {
				compatible = "cache";
				cache-block-size = <64>;
				cache-level = <3>;
				cache-size = <67108864>;
				cache-sets = <4096>;
				cache-unified;
			};
		};
	};

	fragment@1 {
		target-path = "/soc/i2c@7030006000";
		__overlay__ {
			#address-cells = <1>;
			#size-cells = <0>;
			mango_srst: mango-reset@17 {
				compatible = "mango,reset";
				reg = <0x17>;
			};
		};
	};

	fragment@2 {
		target-path = "/soc";
		__overlay__ {
			#address-cells = <2>;
			#size-cells = <2>;
			clint_mswi: clint-mswi@7094000000 {
				compatible = "thead,c900-clint-mswi";
				reg = <0x00000070 0x94000000 0x00000000 0x00004000>;
				interrupts-extended = <
					&cpu0_intc 3
					&cpu1_intc 3
					&cpu2_intc 3
					&cpu3_intc 3
					&cpu4_intc 3
					&cpu5_intc 3
					&cpu6_intc 3
					&cpu7_intc 3
					&cpu8_intc 3
					&cpu9_intc 3
					&cpu10_intc 3
					&cpu11_intc 3
					&cpu12_intc 3
					&cpu13_intc 3
					&cpu14_intc 3
					&cpu15_intc 3
					&cpu16_intc 3
					&cpu17_intc 3
					&cpu18_intc 3
					&cpu19_intc 3
					&cpu20_intc 3
					&cpu21_intc 3
					&cpu22_intc 3
					&cpu23_intc 3
					&cpu24_intc 3
					&cpu25_intc 3
					&cpu26_intc 3
					&cpu27_intc 3
					&cpu28_intc 3
					&cpu29_intc 3
					&cpu30_intc 3
					&cpu31_intc 3
					&cpu32_intc 3
					&cpu33_intc 3
					&cpu34_intc 3
					&cpu35_intc 3
					&cpu36_intc 3
					&cpu37_intc 3
					&cpu38_intc 3
					&cpu39_intc 3
					&cpu40_intc 3
					&cpu41_intc 3
					&cpu42_intc 3
					&cpu43_intc 3
					&cpu44_intc 3
					&cpu45_intc 3
					&cpu46_intc 3
					&cpu47_intc 3
					&cpu48_intc 3
					&cpu49_intc 3
					&cpu50_intc 3
					&cpu51_intc 3
					&cpu52_intc 3
					&cpu53_intc 3
					&cpu54_intc 3
					&cpu55_intc 3
					&cpu56_intc 3
					&cpu57_intc 3
					&cpu58_intc 3
					&cpu59_intc 3
					&cpu60_intc 3
					&cpu61_intc 3
					&cpu62_intc 3
					&cpu63_intc 3
					>;
			};

			clint_mtimer0: clint-mtimer@70ac000000 {
				compatible = "thead,c900-clint-mtimer";
				reg = <0x00000070 0xac000000 0x00000000 0x00007ff8>;
				interrupts-extended = <
					&cpu0_intc 7
					&cpu1_intc 7
					&cpu2_intc 7
					&cpu3_intc 7
					>;
			};

			clint_mtimer1: clint-mtimer@70ac010000 {
				compatible = "thead,c900-clint-mtimer";
				reg = <0x00000070 0xac010000 0x00000000 0x00007ff8>;
				interrupts-extended = <
					&cpu4_intc 7
					&cpu5_intc 7
					&cpu6_intc 7
					&cpu7_intc 7
					>;
			};

			clint_mtimer2: clint-mtimer@70ac020000 {
				compatible = "thead,c900-clint-mtimer";
				reg = <0x00000070 0xac020000 0x00000000 0x00007ff8>;
				interrupts-extended = <
					&cpu8_intc 7
					&cpu9_intc 7
					&cpu10_intc 7
					&cpu11_intc 7
					>;
			};

			clint_mtimer3: clint-mtimer@70ac030000 {
				compatible = "thead,c900-clint-mtimer";
				reg = <0x00000070 0xac030000 0x00000000 0x00007ff8>;
				interrupts-extended = <
					&cpu12_intc 7
					&cpu13_intc 7
					&cpu14_intc 7
					&cpu15_intc 7
					>;
			};

			clint_mtimer4: clint-mtimer@70ac040000 {
				compatible = "thead,c900-clint-mtimer";
				reg = <0x00000070 0xac040000 0x00000000 0x00007ff8>;
				interrupts-extended = <
					&cpu16_intc 7
					&cpu17_intc 7
					&cpu18_intc 7
					&cpu19_intc 7
					>;
			};

			clint_mtimer5: clint-mtimer@70ac050000 {
				compatible = "thead,c900-clint-mtimer";
				reg = <0x00000070 0xac050000 0x00000000 0x00007ff8>;
				interrupts-extended = <
					&cpu20_intc 7
					&cpu21_intc 7
					&cpu22_intc 7
					&cpu23_intc 7
					>;
			};

			clint_mtimer6: clint-mtimer@70ac060000 {
				compatible = "thead,c900-clint-mtimer";
				reg = <0x00000070 0xac060000 0x00000000 0x00007ff8>;
				interrupts-extended = <
					&cpu24_intc 7
					&cpu25_intc 7
					&cpu26_intc 7
					&cpu27_intc 7
					>;
			};

			clint_mtimer7: clint-mtimer@70ac070000 {
				compatible = "thead,c900-clint-mtimer";
				reg = <0x00000070 0xac070000 0x00000000 0x00007ff8>;
				interrupts-extended = <
					&cpu28_intc 7
					&cpu29_intc 7
					&cpu30_intc 7
					&cpu31_intc 7
					>;
			};

			clint_mtimer8: clint-mtimer@70ac080000 {
				compatible = "thead,c900-clint-mtimer";
				reg = <0x00000070 0xac080000 0x00000000 0x00007ff8>;
				interrupts-extended = <
					&cpu32_intc 7
					&cpu33_intc 7
					&cpu34_intc 7
					&cpu35_intc 7
					>;
			};

			clint_mtimer9: clint-mtimer@70ac090000 {
				compatible = "thead,c900-clint-mtimer";
				reg = <0x00000070 0xac090000 0x00000000 0x00007ff8>;
				interrupts-extended = <
					&cpu36_intc 7
					&cpu37_intc 7
					&cpu38_intc 7
					&cpu39_intc 7
					>;
			};

			clint_mtimer10: clint-mtimer@70ac0a0000 {
				compatible = "thead,c900-clint-mtimer";
				reg = <0x00000070 0xac0a0000 0x00000000 0x00007ff8>;
				interrupts-extended = <
					&cpu40_intc 7
					&cpu41_intc 7
					&cpu42_intc 7
					&cpu43_intc 7
					>;
			};

			clint_mtimer11: clint-mtimer@70ac0b0000 {
				compatible = "thead,c900-clint-mtimer";
				reg = <0x00000070 0xac0b0000 0x00000000 0x00007ff8>;
				interrupts-extended = <
					&cpu44_intc 7
					&cpu45_intc 7
					&cpu46_intc 7
					&cpu47_intc 7
					>;
			};

			clint_mtimer12: clint-mtimer@70ac0c0000 {
				compatible = "thead,c900-clint-mtimer";
				reg = <0x00000070 0xac0c0000 0x00000000 0x00007ff8>;
				interrupts-extended = <
					&cpu48_intc 7
					&cpu49_intc 7
					&cpu50_intc 7
					&cpu51_intc 7
					>;
			};

			clint_mtimer13: clint-mtimer@70ac0d0000 {
				compatible = "thead,c900-clint-mtimer";
				reg = <0x00000070 0xac0d0000 0x00000000 0x00007ff8>;
				interrupts-extended = <
					&cpu52_intc 7
					&cpu53_intc 7
					&cpu54_intc 7
					&cpu55_intc 7
					>;
			};

			clint_mtimer14: clint-mtimer@70ac0e0000 {
				compatible = "thead,c900-clint-mtimer";
				reg = <0x00000070 0xac0e0000 0x00000000 0x00007ff8>;
				interrupts-extended = <
					&cpu56_intc 7
					&cpu57_intc 7
					&cpu58_intc 7
					&cpu59_intc 7
					>;
			};

			clint_mtimer15: clint-mtimer@70ac0f0000 {
				compatible = "thead,c900-clint-mtimer";
				reg = <0x00000070 0xac0f0000 0x00000000 0x00007ff8>;
				interrupts-extended = <
					&cpu60_intc 7
					&cpu61_intc 7
					&cpu62_intc 7
					&cpu63_intc 7
					>;
			};

			intc: interrupt-controller@7090000000 {
				#address-cells = <0>;
				#interrupt-cells = <2>;
				compatible = "thead,c900-plic";
				interrupt-controller;
				interrupts-extended = <
					&cpu0_intc  11 &cpu0_intc  9
					&cpu1_intc  11 &cpu1_intc  9
					&cpu2_intc  11 &cpu2_intc  9
					&cpu3_intc  11 &cpu3_intc  9
					&cpu4_intc  11 &cpu4_intc  9
					&cpu5_intc  11 &cpu5_intc  9
					&cpu6_intc  11 &cpu6_intc  9
					&cpu7_intc  11 &cpu7_intc  9
					&cpu8_intc  11 &cpu8_intc  9
					&cpu9_intc  11 &cpu9_intc  9
					&cpu10_intc  11 &cpu10_intc  9
					&cpu11_intc  11 &cpu11_intc  9
					&cpu12_intc  11 &cpu12_intc  9
					&cpu13_intc  11 &cpu13_intc  9
					&cpu14_intc  11 &cpu14_intc  9
					&cpu15_intc  11 &cpu15_intc  9
					&cpu16_intc  11 &cpu16_intc  9
					&cpu17_intc  11 &cpu17_intc  9
					&cpu18_intc  11 &cpu18_intc  9
					&cpu19_intc  11 &cpu19_intc  9
					&cpu20_intc  11 &cpu20_intc  9
					&cpu21_intc  11 &cpu21_intc  9
					&cpu22_intc  11 &cpu22_intc  9
					&cpu23_intc  11 &cpu23_intc  9
					&cpu24_intc  11 &cpu24_intc  9
					&cpu25_intc  11 &cpu25_intc  9
					&cpu26_intc  11 &cpu26_intc  9
					&cpu27_intc  11 &cpu27_intc  9
					&cpu28_intc  11 &cpu28_intc  9
					&cpu29_intc  11 &cpu29_intc  9
					&cpu30_intc  11 &cpu30_intc  9
					&cpu31_intc  11 &cpu31_intc  9
					&cpu32_intc  11 &cpu32_intc  9
					&cpu33_intc  11 &cpu33_intc  9
					&cpu34_intc  11 &cpu34_intc  9
					&cpu35_intc  11 &cpu35_intc  9
					&cpu36_intc  11 &cpu36_intc  9
					&cpu37_intc  11 &cpu37_intc  9
					&cpu38_intc  11 &cpu38_intc  9
					&cpu39_intc  11 &cpu39_intc  9
					&cpu40_intc  11 &cpu40_intc  9
					&cpu41_intc  11 &cpu41_intc  9
					&cpu42_intc  11 &cpu42_intc  9
					&cpu43_intc  11 &cpu43_intc  9
					&cpu44_intc  11 &cpu44_intc  9
					&cpu45_intc  11 &cpu45_intc  9
					&cpu46_intc  11 &cpu46_intc  9
					&cpu47_intc  11 &cpu47_intc  9
					&cpu48_intc  11 &cpu48_intc  9
					&cpu49_intc  11 &cpu49_intc  9
					&cpu50_intc  11 &cpu50_intc  9
					&cpu51_intc  11 &cpu51_intc  9
					&cpu52_intc  11 &cpu52_intc  9
					&cpu53_intc  11 &cpu53_intc  9
					&cpu54_intc  11 &cpu54_intc  9
					&cpu55_intc  11 &cpu55_intc  9
					&cpu56_intc  11 &cpu56_intc  9
					&cpu57_intc  11 &cpu57_intc  9
					&cpu58_intc  11 &cpu58_intc  9
					&cpu59_intc  11 &cpu59_intc  9
					&cpu60_intc  11 &cpu60_intc  9
					&cpu61_intc  11 &cpu61_intc  9
					&cpu62_intc  11 &cpu62_intc  9
					&cpu63_intc  11 &cpu63_intc  9
					>;
				reg = <0x00000070 0x90000000 0x00000000 0x04000000>;
				reg-names = "control";
				riscv,max-priority = <7>;
				riscv,ndev = <224>;
			};

			pcie@7060000000 {
				compatible = "sophgo,cdns-pcie-host";
				device_type = "pci";
				#address-cells = <3>;
				#size-cells = <2>;

				bus-range = <0x0 0x3f>;
				linux,pci-domain = <0>;
				cdns,max-outbound-regions = <16>;
				cdns,no-bar-match-nbits = <48>;
				vendor-id = /bits/ 16 <0x1E30>;
				device-id = /bits/ 16 <0x2042>;
				pcie-id = /bits/ 16 <0x0>;
				link-id = /bits/ 16 <0x0>;
				reg = <0x70 0x60000000  0x0 0x02000000>,
				<0x40 0x00000000  0x0 0x00001000>;
				reg-names = "reg", "cfg";

				// IO, check IO_SPACE_LIMIT
				// 32bit prefetchable memory
				// 32bit non-prefetchable memory
				// 64bit prefetchable memory
				// 64bit non-prefetchable memory
				ranges = <0x01000000 0x0  0xc0000000  0x40 0xc0000000  0x0 0x00400000>,
					<0x42000000 0x0  0xd0000000  0x40 0xd0000000  0x0 0x10000000>,
					<0x02000000 0x0  0xe0000000  0x40 0xe0000000  0x0 0x20000000>,
					<0x43000000 0x42 0x00000000  0x42 0x00000000  0x2 0x00000000>,
					<0x03000000 0x41 0x00000000  0x41 0x00000000  0x1 0x00000000>;

				status = "okay";
			};

			pcie@7060800000 {
				compatible = "sophgo,cdns-pcie-host";
				device_type = "pci";
				#address-cells = <3>;
				#size-cells = <2>;

				bus-range = <0x40 0x7f>;
				linux,pci-domain = <1>;
				cdns,max-outbound-regions = <16>;
				cdns,no-bar-match-nbits = <48>;
				vendor-id = /bits/ 16 <0x1E30>;
				device-id = /bits/ 16 <0x2042>;
				pcie-id = /bits/ 16 <0x0>;
				link-id = /bits/ 16 <0x1>;
				reg = <0x44 0x00000000  0x0 0x00001000>;
				reg-names = "cfg";

				// IO, check IO_SPACE_LIMIT
				// 32bit prefetchable memory
				// 32bit non-prefetchable memory
				// 64bit prefetchable memory
				// 64bit non-prefetchable memory
				ranges = <0x01000000 0x0  0xc0400000  0x44 0xc0400000  0x0 0x00400000>,
					<0x42000000 0x0  0xe0000000  0x44 0xe0000000  0x0 0x20000000>,
					<0x02000000 0x0  0xd0000000  0x44 0xd0000000  0x0 0x10000000>,
					<0x43000000 0x46 0x00000000  0x46 0x00000000  0x2 0x00000000>,
					<0x03000000 0x45 0x00000000  0x45 0x00000000  0x1 0x00000000>;

				status = "okay";
			};

			pcie@7062000000 {
				compatible = "sophgo,cdns-pcie-host";
				device_type = "pci";
				#address-cells = <3>;
				#size-cells = <2>;

				bus-range = <0x80 0xff>;
				linux,pci-domain = <2>;
				cdns,max-outbound-regions = <16>;
				cdns,no-bar-match-nbits = <48>;
				vendor-id = /bits/ 16 <0x1E30>;
				device-id = /bits/ 16 <0x2042>;
				pcie-id = /bits/ 16 <0x1>;
				link-id = /bits/ 16 <0x0>;
				reg = <0x70 0x62000000  0x0 0x02000000>,
				<0x48 0x00000000  0x0 0x00001000>;
				reg-names = "reg", "cfg";

				// IO, check IO_SPACE_LIMIT
				// 32bit prefetchable memory
				// 32bit non-prefetchable memory
				// 64bit prefetchable memory
				// 64bit non-prefetchable memory
				ranges = <0x01000000 0x0  0xc0800000  0x48 0xc0800000  0x0 0x00800000>,
					<0x42000000 0x0  0xd0000000  0x48 0xd0000000  0x0 0x10000000>,
					<0x02000000 0x0  0xe0000000  0x48 0xe0000000  0x0 0x20000000>,
					<0x43000000 0x4a 0x00000000  0x4a 0x00000000  0x2 0x00000000>,
					<0x03000000 0x49 0x00000000  0x49 0x00000000  0x1 0x00000000>;

				status = "okay";
			};
		};
	};
};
